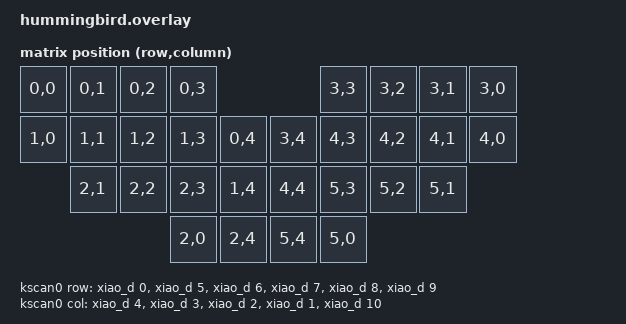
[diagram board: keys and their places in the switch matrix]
/*
 * Copyright (c) 2021 The ZMK Contributors
 *
 * SPDX-License-Identifier: MIT
 */

#include <dt-bindings/zmk/matrix_transform.h>

/ {
    chosen {
        zmk,kscan = &kscan0;
        zmk,matrix_transform = &default_transform;
        /delete-property/ zephyr,console;
        /delete-property/ zephyr,shell-uart;
    };

    default_transform: keymap_transform_0 {
        compatible = "zmk,matrix-transform";
        columns = <5>;
        rows = <6>;
        map = <
        RC(0,0) RC(0,1) RC(0,2) RC(0,3)                   RC(3,3) RC(3,2) RC(3,1) RC(3,0)
        RC(1,0) RC(1,1) RC(1,2) RC(1,3) RC(0,4)   RC(3,4) RC(4,3) RC(4,2) RC(4,1) RC(4,0) 
                RC(2,1) RC(2,2) RC(2,3) RC(1,4)   RC(4,4) RC(5,3) RC(5,2) RC(5,1)
                                RC(2,0) RC(2,4)   RC(5,4) RC(5,0)         
        >;
    };

    kscan0: kscan_0 {
        compatible = "zmk,kscan-gpio-matrix";
        diode-direction = "col2row";
        row-gpios
            = <&xiao_d 0  (GPIO_ACTIVE_HIGH | GPIO_PULL_DOWN)>
            , <&xiao_d 5  (GPIO_ACTIVE_HIGH | GPIO_PULL_DOWN)>
            , <&xiao_d 6  (GPIO_ACTIVE_HIGH | GPIO_PULL_DOWN)>
            , <&xiao_d 7  (GPIO_ACTIVE_HIGH | GPIO_PULL_DOWN)>
            , <&xiao_d 8  (GPIO_ACTIVE_HIGH | GPIO_PULL_DOWN)>
            , <&xiao_d 9  (GPIO_ACTIVE_HIGH | GPIO_PULL_DOWN)>
            ;

        col-gpios
            = <&xiao_d 4  GPIO_ACTIVE_HIGH>
            , <&xiao_d 3  GPIO_ACTIVE_HIGH>
            , <&xiao_d 2  GPIO_ACTIVE_HIGH>
            , <&xiao_d 1  GPIO_ACTIVE_HIGH>
            , <&xiao_d 10  GPIO_ACTIVE_HIGH>
            ;
    };

};

&xiao_spi { status = "disabled"; };
&xiao_serial { status = "disabled"; };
